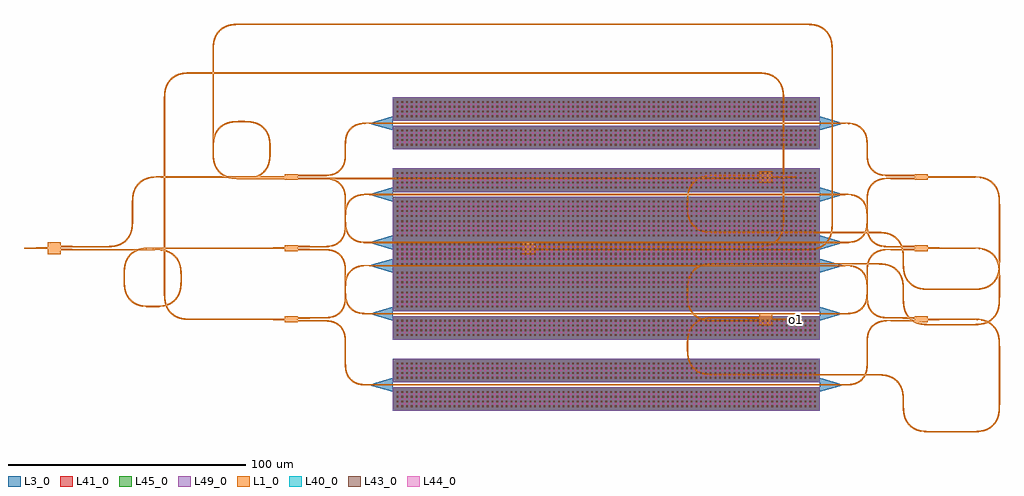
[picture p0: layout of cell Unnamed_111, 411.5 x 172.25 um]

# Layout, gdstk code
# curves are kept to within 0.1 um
from math import pi, radians
import gdstk
lib = gdstk.Library(unit=1e-6, precision=1e-09)
def R(c, l, rs):  # rectangles x0, y0, x1, y1
    for r in rs: c.add(gdstk.rectangle(r[:2], r[2:], *l))
def P(c, l, *ps):  # polygons
    for p in ps: c.add(gdstk.Polygon(p, *l))
L1_0 = (1, 0)
L3_0 = (3, 0)
L40_0 = (40, 0)
L41_0 = (41, 0)
L43_0 = (43, 0)
L44_0 = (44, 0)
L45_0 = (45, 0)
L49_0 = (49, 0)

mmi_gdsfactorypcomponent = lib.new_cell('mmi_gdsfactorypcomponentspmmispmmi_I1_O2_WNone_WT1_LT10_571b94f3')
P(mmi_gdsfactorypcomponent, L1_0, [(0,-2.5),(0,-0.5),(-10,-0.25),(-10,0.25),(0,0.5),(0,2.5),(5.5,2.5),(5.5,1.125),(15.5,0.875),(15.5,0.375),(5.5,0.125),(5.5,-0.125),(15.5,-0.375),(15.5,-0.875),(5.5,-1.125),(5.5,-2.5)])

mmi1x2_gdsfactorypcompon = lib.new_cell('mmi1x2_gdsfactorypcomponentspmmispmmi1x2_WNone_WT1_LT10_1f097353')
P(mmi1x2_gdsfactorypcompon, L1_0, [(0,-1.25),(0,-0.5),(-10,-0.25),(-10,0.25),(0,0.5),(0,1.25),(5.5,1.25),(5.5,1.125),(15.5,0.875),(15.5,0.375),(5.5,0.125),(5.5,-0.125),(15.5,-0.375),(15.5,-0.875),(5.5,-1.125),(5.5,-1.25)])

bend_euler_gdsfactorypco = lib.new_cell('bend_euler_gdsfactorypcomponentspbendspbend_euler_RNone_387600b2')
P(bend_euler_gdsfactorypco, L1_0, [(0,-0.25),(0,0.25),(2.881,0.353),(3.952,0.52),(4.99,0.806),(6.431,1.505),(7.575,2.425),(8.495,3.569),(9.194,5.01),(9.48,6.048),(9.647,7.119),(9.75,10),(10.25,10),(10.158,7.205),(9.797,5.254),(9.457,4.312),(9.066,3.545),(8.5,2.715),(7.928,2.072),(7.285,1.5),(6.455,0.934),(5.688,0.543),(4.746,0.203),(2.795,-0.158)])

straight_gdsfactorypcomp = lib.new_cell('straight_gdsfactorypcomponentspwaveguidespstraight_L2_N_815d3d03')
R(straight_gdsfactorypcomp, L1_0, [(0,-0.25,2,0.25)])

c_straight_gdsfactorypcomp = lib.new_cell('straight_gdsfactorypcomponentspwaveguidespstraight_L7_N_ecd9aecc')
R(c_straight_gdsfactorypcomp, L1_0, [(0,-0.25,7,0.25)])

c_straight_gdsfactorypcomp_ = lib.new_cell('straight_gdsfactorypcomponentspwaveguidespstraight_L180_c6573083')
R(c_straight_gdsfactorypcomp_, L1_0, [(0,-0.25,180,0.25)])

taper_strip_to_ridge_gds = lib.new_cell('taper_strip_to_ridge_gdsfactorypcomponentsptapersptaper_947a0bf0')
R(taper_strip_to_ridge_gds, L1_0, [(0,-0.25,10,0.25)])
P(taper_strip_to_ridge_gds, L3_0, [(10,-3),(0,-0.075),(0,0.075),(10,3)])

compass_gdsfactorypcompo = lib.new_cell('compass_gdsfactorypcomponentspshapespcompass_S180_10_LS_ac7757bf')
R(compass_gdsfactorypcompo, L3_0, [(-90,-5,90,5)])

c_compass_gdsfactorypcompo = lib.new_cell('compass_gdsfactorypcomponentspshapespcompass_S180_10_LM_4e0af846')
R(c_compass_gdsfactorypcompo, L41_0, [(-90,-5,90,5)])

c_compass_gdsfactorypcompo_ = lib.new_cell('compass_gdsfactorypcomponentspshapespcompass_S180_10_LM_ffb56291')
R(c_compass_gdsfactorypcompo_, L45_0, [(-90,-5,90,5)])

c_compass_gdsfactorypcompo__ = lib.new_cell('compass_gdsfactorypcomponentspshapespcompass_S180_10_LM_d431091e')
R(c_compass_gdsfactorypcompo__, L49_0, [(-90,-5,90,5)])

via_gdsfactorypcomponent = lib.new_cell('via_gdsfactorypcomponentspviaspvia_S0p7_0p7_E1_LVIAC_BL_572539c8')
R(via_gdsfactorypcomponent, L40_0, [(-0.35,-0.35,0.35,0.35)])

c_via_gdsfactorypcomponent = lib.new_cell('via_gdsfactorypcomponentspviaspvia_S0p7_0p7_E2_LVIA1_BL_efa29aa3')
R(c_via_gdsfactorypcomponent, L44_0, [(-0.35,-0.35,0.35,0.35)])

c_via_gdsfactorypcomponent_ = lib.new_cell('via_gdsfactorypcomponentspviaspvia_S0p7_0p7_E1_LVIA2_BL_c51b5ebb')
R(c_via_gdsfactorypcomponent_, L43_0, [(-0.35,-0.35,0.35,0.35)])

via_stack_gdsfactorypcom = lib.new_cell('via_stack_gdsfactorypcomponentspviaspvia_stack_S180_10__ac52c1b0')
via_stack_gdsfactorypcom.add(gdstk.Reference(compass_gdsfactorypcompo, (0,0)))
via_stack_gdsfactorypcom.add(gdstk.Reference(c_compass_gdsfactorypcompo, (0,0)))
via_stack_gdsfactorypcom.add(gdstk.Reference(c_compass_gdsfactorypcompo_, (0,0)))
via_stack_gdsfactorypcom.add(gdstk.Reference(c_compass_gdsfactorypcompo__, (0,0)))
r = gdstk.Reference(via_gdsfactorypcomponent, (-88,-3)); r.repetition = gdstk.Repetition(89, 4, v1=(2,0), v2=(0,2)); via_stack_gdsfactorypcom.add(r)
r = gdstk.Reference(c_via_gdsfactorypcomponent, (-87,-2)); r.repetition = gdstk.Repetition(88, 3, v1=(2,0), v2=(0,2)); via_stack_gdsfactorypcom.add(r)
r = gdstk.Reference(c_via_gdsfactorypcomponent_, (-88,-3)); r.repetition = gdstk.Repetition(89, 4, v1=(2,0), v2=(0,2)); via_stack_gdsfactorypcom.add(r)

straight_pin_gdsfactoryp = lib.new_cell('straight_pin_gdsfactorypcomponentspwaveguidespstraight__77e81821')
straight_pin_gdsfactoryp.add(gdstk.Reference(c_straight_gdsfactorypcomp_, (0,0)))
straight_pin_gdsfactoryp.add(gdstk.Reference(taper_strip_to_ridge_gds, (-10,0)))
straight_pin_gdsfactoryp.add(gdstk.Reference(taper_strip_to_ridge_gds, (190,0), rotation=pi))
straight_pin_gdsfactoryp.add(gdstk.Reference(via_stack_gdsfactorypcom, (90,6)))
straight_pin_gdsfactoryp.add(gdstk.Reference(via_stack_gdsfactorypcom, (90,-6)))

mzi_gdsfactorypcomponent = lib.new_cell('mzi_gdsfactorypcomponentspmzispmzi_DL10_LY2_LX200_Bbend_d03ef107')
mzi_gdsfactorypcomponent.add(gdstk.Reference(mmi1x2_gdsfactorypcompon, (0,0)))
mzi_gdsfactorypcomponent.add(gdstk.Reference(bend_euler_gdsfactorypco, (15.5,-0.625), x_reflection=True))
mzi_gdsfactorypcomponent.add(gdstk.Reference(bend_euler_gdsfactorypco, (25.5,-17.625), rotation=3*pi/2))
mzi_gdsfactorypcomponent.add(gdstk.Reference(bend_euler_gdsfactorypco, (15.5,0.625)))
mzi_gdsfactorypcomponent.add(gdstk.Reference(bend_euler_gdsfactorypco, (35.5,22.625), rotation=pi))
mzi_gdsfactorypcomponent.add(gdstk.Reference(bend_euler_gdsfactorypco, (245.5,12.625), rotation=pi/2))
mzi_gdsfactorypcomponent.add(gdstk.Reference(bend_euler_gdsfactorypco, (245.5,10.625), rotation=3*pi/2))
mzi_gdsfactorypcomponent.add(gdstk.Reference(bend_euler_gdsfactorypco, (235.5,-27.625)))
mzi_gdsfactorypcomponent.add(gdstk.Reference(bend_euler_gdsfactorypco, (255.5,-0.625), rotation=pi))
mzi_gdsfactorypcomponent.add(gdstk.Reference(straight_gdsfactorypcomp, (25.5,10.625), rotation=pi/2))
mzi_gdsfactorypcomponent.add(gdstk.Reference(c_straight_gdsfactorypcomp, (25.5,-10.625), rotation=3*pi/2))
mzi_gdsfactorypcomponent.add(gdstk.Reference(straight_pin_gdsfactoryp, (45.5,22.625)))
mzi_gdsfactorypcomponent.add(gdstk.Reference(straight_pin_gdsfactoryp, (45.5,-27.625)))
mzi_gdsfactorypcomponent.add(gdstk.Reference(mmi1x2_gdsfactorypcompon, (271,0), rotation=pi, x_reflection=True))
mzi_gdsfactorypcomponent.add(gdstk.Reference(straight_gdsfactorypcomp, (245.5,10.625), rotation=pi/2))
mzi_gdsfactorypcomponent.add(gdstk.Reference(c_straight_gdsfactorypcomp, (245.5,-17.625), rotation=pi/2))

c_mmi_gdsfactorypcomponent = lib.new_cell('mmi_gdsfactorypcomponentspmmispmmi_I2_O1_WNone_WT1_LT10_62ac434d')
P(c_mmi_gdsfactorypcomponent, L1_0, [(0,-2.5),(0,-1.125),(-10,-0.875),(-10,-0.375),(0,-0.125),(0,0.125),(-10,0.375),(-10,0.875),(0,1.125),(0,2.5),(5.5,2.5),(5.5,0.5),(15.5,0.25),(15.5,-0.25),(5.5,-0.5),(5.5,-2.5)])

c_bend_euler_gdsfactorypco = lib.new_cell('bend_euler_gdsfactorypcomponentspbendspbend_euler_R12_A_9e9e73f9')
P(c_bend_euler_gdsfactorypco, L1_0, [(0,-0.25),(0,0.25),(1.893,0.27),(3.499,0.378),(4.815,0.589),(5.963,0.906),(6.826,1.256),(7.653,1.707),(8.422,2.249),(9.125,2.875),(9.751,3.578),(10.293,4.347),(10.744,5.174),(11.094,6.037),(11.411,7.185),(11.622,8.501),(11.73,10.107),(11.75,12),(12.25,12),(12.147,8.72),(11.981,7.488),(11.733,6.406),(11.369,5.351),(10.865,4.328),(10.317,3.493),(9.579,2.623),(8.733,1.857),(7.795,1.208),(6.78,0.686),(5.728,0.306),(4.512,0.019),(3.28,-0.147)])

c_straight_gdsfactorypcomp__ = lib.new_cell('straight_gdsfactorypcomponentspwaveguidespstraight_L8p2_ef4555e0')
R(c_straight_gdsfactorypcomp__, L1_0, [(0,-0.25,8.25,0.25)])

c_straight_gdsfactorypcomp___ = lib.new_cell('straight_gdsfactorypcomponentspwaveguidespstraight_L5p3_76a498c7')
R(c_straight_gdsfactorypcomp___, L1_0, [(0,-0.25,5.375,0.25)])

c_straight_gdsfactorypcomp____ = lib.new_cell('straight_gdsfactorypcomponentspwaveguidespstraight_L42p_e911443d')
R(c_straight_gdsfactorypcomp____, L1_0, [(0,-0.25,42.25,0.25)])

c_straight_gdsfactorypcomp_____ = lib.new_cell('straight_gdsfactorypcomponentspwaveguidespstraight_L28p_35f6d910')
R(c_straight_gdsfactorypcomp_____, L1_0, [(0,-0.25,28.75,0.25)])

c_straight_gdsfactorypcomp______ = lib.new_cell('straight_gdsfactorypcomponentspwaveguidespstraight_L0p6_1afb0928')
R(c_straight_gdsfactorypcomp______, L1_0, [(0,-0.25,0.625,0.25)])

c_straight_gdsfactorypcomp_______ = lib.new_cell('straight_gdsfactorypcomponentspwaveguidespstraight_L45p_aac8c24e')
R(c_straight_gdsfactorypcomp_______, L1_0, [(0,-0.25,45.75,0.25)])

c_straight_gdsfactorypcomp________ = lib.new_cell('straight_gdsfactorypcomponentspwaveguidespstraight_L82p_ee86d85f')
R(c_straight_gdsfactorypcomp________, L1_0, [(0,-0.25,82.75,0.25)])

c_straight_gdsfactorypcomp_________ = lib.new_cell('straight_gdsfactorypcomponentspwaveguidespstraight_L49p_5e24f594')
R(c_straight_gdsfactorypcomp_________, L1_0, [(0,-0.25,49.25,0.25)])

c_straight_gdsfactorypcomp__________ = lib.new_cell('straight_gdsfactorypcomponentspwaveguidespstraight_L237_259fd16f')
R(c_straight_gdsfactorypcomp__________, L1_0, [(0,-0.25,237,0.25)])

c_straight_gdsfactorypcomp___________ = lib.new_cell('straight_gdsfactorypcomponentspwaveguidespstraight_L79p_c3444750')
R(c_straight_gdsfactorypcomp___________, L1_0, [(0,-0.25,79.875,0.25)])

c_straight_gdsfactorypcomp____________ = lib.new_cell('straight_gdsfactorypcomponentspwaveguidespstraight_L103_a00cc766')
R(c_straight_gdsfactorypcomp____________, L1_0, [(0,-0.25,103.25,0.25)])

c_straight_gdsfactorypcomp_____________ = lib.new_cell('straight_gdsfactorypcomponentspwaveguidespstraight_L71__03291bfa')
R(c_straight_gdsfactorypcomp_____________, L1_0, [(0,-0.25,71,0.25)])

c_straight_gdsfactorypcomp______________ = lib.new_cell('straight_gdsfactorypcomponentspwaveguidespstraight_L41__2fa10b5d')
R(c_straight_gdsfactorypcomp______________, L1_0, [(0,-0.25,41,0.25)])

c_straight_gdsfactorypcomp_______________ = lib.new_cell('straight_gdsfactorypcomponentspwaveguidespstraight_L208_d702ce75')
R(c_straight_gdsfactorypcomp_______________, L1_0, [(0,-0.25,208.25,0.25)])

c_straight_gdsfactorypcomp________________ = lib.new_cell('straight_gdsfactorypcomponentspwaveguidespstraight_L23p_7739302b')
R(c_straight_gdsfactorypcomp________________, L1_0, [(0,-0.25,23.375,0.25)])

c_straight_gdsfactorypcomp_________________ = lib.new_cell('straight_gdsfactorypcomponentspwaveguidespstraight_L16p_2c325ffd')
R(c_straight_gdsfactorypcomp_________________, L1_0, [(0,-0.25,16.501,0.25)])

c_straight_gdsfactorypcomp__________________ = lib.new_cell('straight_gdsfactorypcomponentspwaveguidespstraight_L66p_83804262')
R(c_straight_gdsfactorypcomp__________________, L1_0, [(0,-0.25,66.999,0.25)])

c_straight_gdsfactorypcomp___________________ = lib.new_cell('straight_gdsfactorypcomponentspwaveguidespstraight_L1p6_9011ab03')
R(c_straight_gdsfactorypcomp___________________, L1_0, [(0,-0.25,1.625,0.25)])

unnamed_111 = lib.new_cell('Unnamed_111')
P(unnamed_111, L1_0, [(315.5,-30.25),(315.5,-30),(315.525,-30),(315.525,-30.188),(315.715,-30),(315.5,-30),(315.5,-29.75),(315.75,-30)])
unnamed_111.add(gdstk.Reference(mmi_gdsfactorypcomponent, (0,0)))
unnamed_111.add(gdstk.Reference(mmi_gdsfactorypcomponent, (200,0)))
unnamed_111.add(gdstk.Reference(mzi_gdsfactorypcomponent, (100,30)))
unnamed_111.add(gdstk.Reference(mzi_gdsfactorypcomponent, (100,0)))
unnamed_111.add(gdstk.Reference(mzi_gdsfactorypcomponent, (100,-30)))
unnamed_111.add(gdstk.Reference(c_mmi_gdsfactorypcomponent, (300,30)))
unnamed_111.add(gdstk.Reference(c_mmi_gdsfactorypcomponent, (300,-30)))
unnamed_111.add(gdstk.Reference(c_bend_euler_gdsfactorypco, (35.75,12.625), rotation=3*pi/2, x_reflection=True))
unnamed_111.add(gdstk.Reference(c_straight_gdsfactorypcomp__, (15.5,0.625)))
unnamed_111.add(gdstk.Reference(c_bend_euler_gdsfactorypco, (47.75,30), rotation=pi))
unnamed_111.add(gdstk.Reference(c_straight_gdsfactorypcomp___, (35.75,12.625), rotation=pi/2))
unnamed_111.add(gdstk.Reference(c_straight_gdsfactorypcomp____, (47.75,30)))
unnamed_111.add(gdstk.Reference(c_bend_euler_gdsfactorypco, (56.25,-12.625), rotation=pi/2))
unnamed_111.add(gdstk.Reference(c_straight_gdsfactorypcomp_____, (15.5,-0.625)))
unnamed_111.add(gdstk.Reference(c_bend_euler_gdsfactorypco, (44.25,-24.625)))
unnamed_111.add(gdstk.Reference(c_bend_euler_gdsfactorypco, (32.25,-12.625), rotation=3*pi/2))
unnamed_111.add(gdstk.Reference(c_bend_euler_gdsfactorypco, (44.25,0), rotation=pi))
unnamed_111.add(gdstk.Reference(c_straight_gdsfactorypcomp______, (32.25,-12.625), rotation=pi/2))
unnamed_111.add(gdstk.Reference(c_straight_gdsfactorypcomp_______, (44.25,0)))
unnamed_111.add(gdstk.Reference(c_bend_euler_gdsfactorypco, (310.25,12.625), rotation=3*pi/2, x_reflection=True))
unnamed_111.add(gdstk.Reference(c_straight_gdsfactorypcomp________, (215.5,0.625)))
unnamed_111.add(gdstk.Reference(c_bend_euler_gdsfactorypco, (298.25,73.875), x_reflection=True))
unnamed_111.add(gdstk.Reference(c_straight_gdsfactorypcomp_________, (310.25,12.625), rotation=pi/2))
unnamed_111.add(gdstk.Reference(c_bend_euler_gdsfactorypco, (49.25,61.875), rotation=pi/2, x_reflection=True))
unnamed_111.add(gdstk.Reference(c_straight_gdsfactorypcomp__________, (298.25,73.875), rotation=pi))
unnamed_111.add(gdstk.Reference(c_bend_euler_gdsfactorypco, (61.25,-30), rotation=pi, x_reflection=True))
unnamed_111.add(gdstk.Reference(c_straight_gdsfactorypcomp___________, (49.25,61.875), rotation=3*pi/2))
unnamed_111.add(gdstk.Reference(c_straight_gdsfactorypcomp_____, (61.25,-30)))
unnamed_111.add(gdstk.Reference(c_bend_euler_gdsfactorypco, (330.75,11.375), rotation=3*pi/2, x_reflection=True))
unnamed_111.add(gdstk.Reference(c_straight_gdsfactorypcomp____________, (215.5,-0.625)))
unnamed_111.add(gdstk.Reference(c_bend_euler_gdsfactorypco, (318.75,94.375), x_reflection=True))
unnamed_111.add(gdstk.Reference(c_straight_gdsfactorypcomp_____________, (330.75,11.375), rotation=pi/2))
unnamed_111.add(gdstk.Reference(c_bend_euler_gdsfactorypco, (69.75,82.375), rotation=pi/2, x_reflection=True))
unnamed_111.add(gdstk.Reference(c_straight_gdsfactorypcomp__________, (318.75,94.375), rotation=pi))
unnamed_111.add(gdstk.Reference(c_bend_euler_gdsfactorypco, (81.75,29.375), rotation=pi, x_reflection=True))
unnamed_111.add(gdstk.Reference(c_straight_gdsfactorypcomp______________, (69.75,82.375), rotation=3*pi/2))
unnamed_111.add(gdstk.Reference(c_bend_euler_gdsfactorypco, (93.75,41.375), rotation=3*pi/2, x_reflection=True))
unnamed_111.add(gdstk.Reference(c_bend_euler_gdsfactorypco, (81.75,53.375), x_reflection=True))
unnamed_111.add(gdstk.Reference(c_bend_euler_gdsfactorypco, (69.75,41.375), rotation=pi/2, x_reflection=True))
unnamed_111.add(gdstk.Reference(c_bend_euler_gdsfactorypco, (81.75,29.375), rotation=pi, x_reflection=True))
unnamed_111.add(gdstk.Reference(c_straight_gdsfactorypcomp_______________, (81.75,29.375)))
unnamed_111.add(gdstk.Reference(c_bend_euler_gdsfactorypco, (401.25,18), rotation=pi/2))
unnamed_111.add(gdstk.Reference(c_straight_gdsfactorypcomp__, (381,30)))
unnamed_111.add(gdstk.Reference(c_bend_euler_gdsfactorypco, (389.25,-17.375)))
unnamed_111.add(gdstk.Reference(c_straight_gdsfactorypcomp________________, (401.25,18), rotation=3*pi/2))
unnamed_111.add(gdstk.Reference(c_bend_euler_gdsfactorypco, (360.749,-5.375), rotation=3*pi/2))
unnamed_111.add(gdstk.Reference(c_straight_gdsfactorypcomp_________________, (389.25,-17.375), rotation=pi))
unnamed_111.add(gdstk.Reference(c_bend_euler_gdsfactorypco, (348.749,6.625), x_reflection=True))
unnamed_111.add(gdstk.Reference(c_bend_euler_gdsfactorypco, (269.75,18.625), rotation=3*pi/2))
unnamed_111.add(gdstk.Reference(c_straight_gdsfactorypcomp__________________, (348.749,6.625), rotation=pi))
unnamed_111.add(gdstk.Reference(c_bend_euler_gdsfactorypco, (281.75,30.625), rotation=pi))
unnamed_111.add(gdstk.Reference(c_straight_gdsfactorypcomp__, (281.75,30.625)))
unnamed_111.add(gdstk.Reference(c_bend_euler_gdsfactorypco, (401.25,-12), rotation=pi/2))
unnamed_111.add(gdstk.Reference(c_straight_gdsfactorypcomp__, (381,0)))
unnamed_111.add(gdstk.Reference(c_bend_euler_gdsfactorypco, (389.25,-32.25)))
unnamed_111.add(gdstk.Reference(c_straight_gdsfactorypcomp__, (401.25,-12), rotation=3*pi/2))
unnamed_111.add(gdstk.Reference(c_bend_euler_gdsfactorypco, (360.749,-20.25), rotation=3*pi/2))
unnamed_111.add(gdstk.Reference(c_straight_gdsfactorypcomp_________________, (389.25,-32.25), rotation=pi))
unnamed_111.add(gdstk.Reference(c_bend_euler_gdsfactorypco, (348.749,-6.625), x_reflection=True))
unnamed_111.add(gdstk.Reference(c_straight_gdsfactorypcomp___________________, (360.749,-20.25), rotation=pi/2))
unnamed_111.add(gdstk.Reference(c_bend_euler_gdsfactorypco, (269.75,-18.625), rotation=pi/2, x_reflection=True))
unnamed_111.add(gdstk.Reference(c_straight_gdsfactorypcomp__________________, (348.749,-6.625), rotation=pi))
unnamed_111.add(gdstk.Reference(c_bend_euler_gdsfactorypco, (281.75,-30.625), rotation=pi, x_reflection=True))
unnamed_111.add(gdstk.Reference(c_straight_gdsfactorypcomp__, (281.75,-30.625)))
unnamed_111.add(gdstk.Reference(c_bend_euler_gdsfactorypco, (401.25,-42), rotation=pi/2))
unnamed_111.add(gdstk.Reference(c_straight_gdsfactorypcomp__, (381,-30)))
unnamed_111.add(gdstk.Reference(c_bend_euler_gdsfactorypco, (389.25,-77.375)))
unnamed_111.add(gdstk.Reference(c_straight_gdsfactorypcomp________________, (401.25,-42), rotation=3*pi/2))
unnamed_111.add(gdstk.Reference(c_bend_euler_gdsfactorypco, (360.749,-65.375), rotation=3*pi/2))
unnamed_111.add(gdstk.Reference(c_straight_gdsfactorypcomp_________________, (389.25,-77.375), rotation=pi))
unnamed_111.add(gdstk.Reference(c_bend_euler_gdsfactorypco, (348.749,-53.375), x_reflection=True))
unnamed_111.add(gdstk.Reference(c_bend_euler_gdsfactorypco, (269.75,-41.375), rotation=3*pi/2))
unnamed_111.add(gdstk.Reference(c_straight_gdsfactorypcomp__________________, (348.749,-53.375), rotation=pi))
unnamed_111.add(gdstk.Reference(c_bend_euler_gdsfactorypco, (281.75,-29.375), rotation=pi))
unnamed_111.add(gdstk.Reference(c_straight_gdsfactorypcomp__, (281.75,-29.375)))
unnamed_111.add(gdstk.Label('o1', (315.5,-30), layer=1, texttype=0))

lib.write_gds('Unnamed_111.gds')
